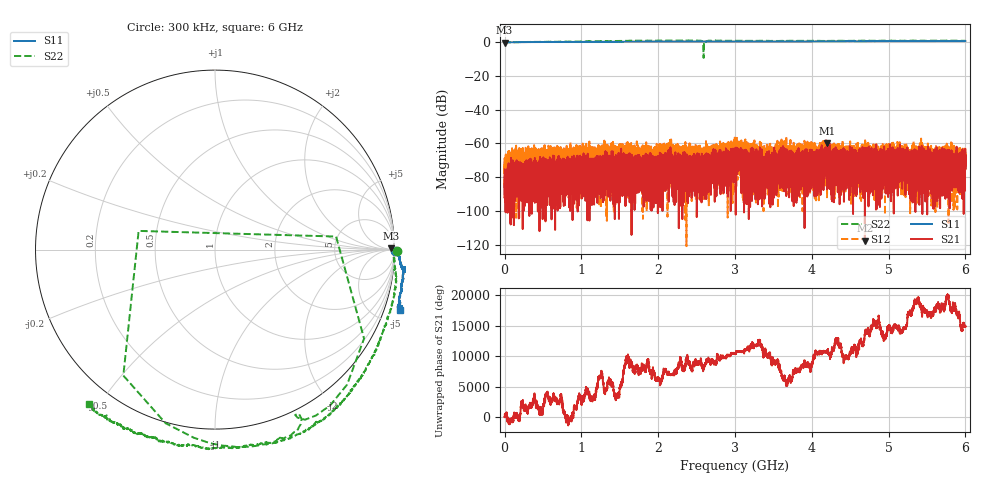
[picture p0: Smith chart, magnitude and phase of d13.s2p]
!Agilent Technologies,N5230C,SG49000117,A.08.50.07
!Agilent N5230C: A.08.50.07
!Date: Thursday, May 16, 2024 21:15:51
!Correction: S11(Full 2 Port(1,2))
!S21(Full 2 Port(1,2))
!S12(Full 2 Port(1,2))
!S22(Full 2 Port(1,2))
!S2P File: Measurements: S11, S21, S12, S22:
# Hz S  MA  R 50
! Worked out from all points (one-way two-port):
!   20001 points, 300 kHz to 6 GHz, reference 50 ohm
!   highest |S21| = -59.69 dB at 4.203 GHz (marker M1); lowest = -117.7 dB at 4.691 GHz (marker M2)
!   lowest |S11| = -0.2 dB at 600 kHz (marker M3), VSWR 110.11, Z = 4.58e+03 + j2.06e+03 ohm
!   |S11| at or under -10 dB: nowhere
!   |S22| runs from -9.3 to 1.1 dB; largest |S21 - S12| = 0.0016
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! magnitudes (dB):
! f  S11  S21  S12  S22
! 300 kHz  0.0  -75.4  -74.7  0.1
! 600 kHz  -0.2  -85.7  -77.7  -0.3
! 207.3 MHz  0.1  -75.4  -70.3  0.1
! 1 GHz  0.3  -83.8  -67.8  0.5
! 1.32 GHz  0.3  -66.5  -72.9  0.7
! 2 GHz  0.5  -75.9  -69.5  1.0
! 2.146 GHz  0.5  -71.4  -65.2  1.0
! 2.227 GHz  0.5  -83.4  -65.9  1.0
! 2.534 GHz  0.5  -71.8  -71.9  1.0
! 3 GHz  0.5  -71.7  -63.9  0.9
! 3.32 GHz  0.5  -70.7  -77.5  0.9
! 3.383 GHz  0.5  -68.4  -74.6  0.9
! 3.646 GHz  0.5  -64.9  -65.2  0.9
! 3.773 GHz  0.5  -69.8  -77.3  0.9
! 4 GHz  0.5  -77.7  -76.9  0.9
! 4.155 GHz  0.6  -81.0  -65.4  0.8
! 4.203 GHz  0.6  -59.7  -72.0  0.8
! 4.359 GHz  0.6  -77.6  -71.0  0.9
! 4.691 GHz  0.6  -117.7  -72.6  0.9
! 5 GHz  0.7  -67.6  -68.4  0.9
! 5.924 GHz  0.7  -70.9  -77.4  0.9
! 6 GHz  0.7  -67.6  -69.3  0.9
